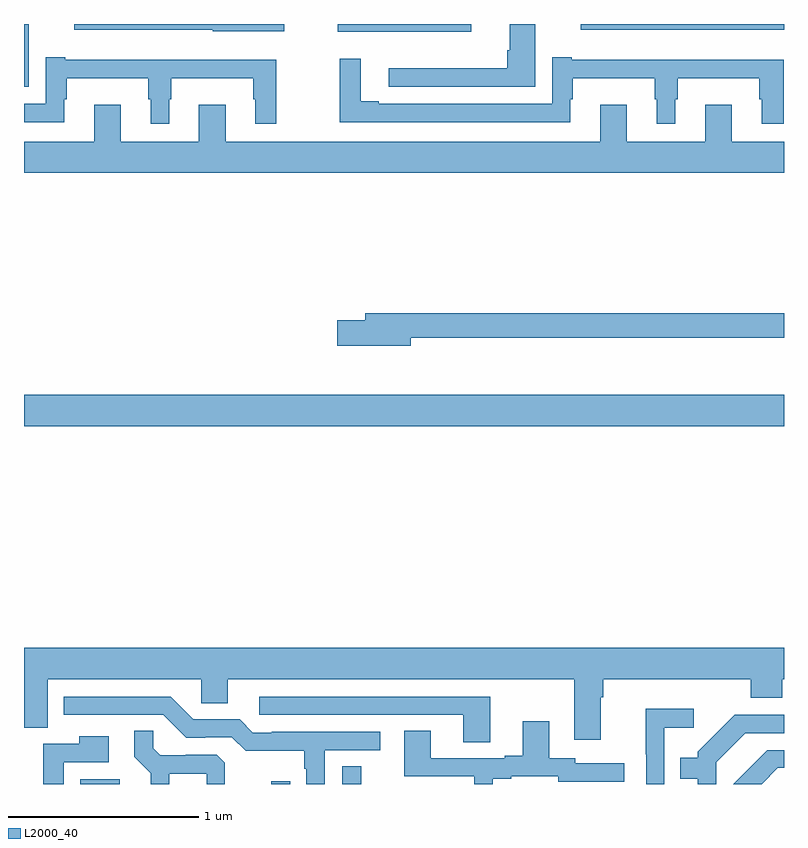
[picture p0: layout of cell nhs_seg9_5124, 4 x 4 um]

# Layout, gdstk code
import gdstk
lib = gdstk.Library(unit=1e-6, precision=1e-09)
def R(c, l, rs):  # rectangles x0, y0, x1, y1
    for r in rs: c.add(gdstk.rectangle(r[:2], r[2:], *l))
def P(c, l, *ps):  # polygons
    for p in ps: c.add(gdstk.Polygon(p, *l))
L2000_40 = (2000, 40)

nhs_seg9_5124 = lib.new_cell('nhs_seg9_5124')
R(nhs_seg9_5124, L2000_40, [(407.297,1230.5,407.503,1230.526), (408.3,1230.5,408.401,1230.514), (408.675,1230.5,408.774,1230.593), (407,1232.384,411,1232.548), (407,1234.17,407.026,1234.5), (408.65,1234.46,409.354,1234.5), (409.929,1234.469,411,1234.5)])
P(nhs_seg9_5124, L2000_40, [(409.69,1234.5),(409.556,1234.5),(409.556,1234.363),(409.544,1234.363),(409.544,1234.268),(408.921,1234.268),(408.921,1234.17),(409.69,1234.17)],
  [(408.37,1234.5),(407.265,1234.5),(407.265,1234.469),(407.994,1234.469),(407.994,1234.463),(408.37,1234.463)],
  [(410.428,1234.103),(410.44,1234.103),(410.44,1234.214),(410.871,1234.214),(410.871,1234.103),(410.882,1234.103),(410.882,1233.975),(410.999,1233.975),(410.999,1234.312),(409.882,1234.312),(409.882,1234.324),(409.779,1234.324),(409.779,1234.08),(408.868,1234.08),(408.868,1234.093),(408.772,1234.093),(408.772,1234.318),(408.663,1234.318),(408.663,1233.984),(409.876,1233.984),(409.876,1234.103),(409.888,1234.103),(409.888,1234.214),(410.319,1234.214),(410.319,1234.103),(410.33,1234.103),(410.33,1233.975),(410.428,1233.975)],
  [(407.764,1234.103),(407.776,1234.103),(407.776,1234.214),(408.207,1234.214),(408.207,1234.103),(408.218,1234.103),(408.218,1233.975),(408.328,1233.975),(408.328,1234.312),(407.218,1234.312),(407.218,1234.324),(407.115,1234.324),(407.115,1234.08),(407,1234.08),(407,1233.984),(407.212,1233.984),(407.212,1234.103),(407.224,1234.103),(407.224,1234.214),(407.655,1234.214),(407.655,1234.103),(407.666,1234.103),(407.666,1233.975),(407.764,1233.975)],
  [(411,1233.88),(410.725,1233.88),(410.725,1234.075),(410.585,1234.075),(410.585,1233.88),(410.173,1233.88),(410.173,1234.075),(410.033,1234.075),(410.033,1233.88),(408.061,1233.88),(408.061,1234.075),(407.921,1234.075),(407.921,1233.88),(407.509,1233.88),(407.509,1234.075),(407.369,1234.075),(407.369,1233.88),(407,1233.88),(407,1233.716),(411,1233.716)],
  [(409.036,1232.85),(411,1232.85),(411,1232.978),(408.797,1232.978),(408.797,1232.942),(408.648,1232.942),(408.648,1232.807),(409.036,1232.807)],
  [(410.035,1230.956),(410.048,1230.956),(410.048,1231.052),(410.825,1231.052),(410.825,1230.953),(410.99,1230.953),(410.99,1231.052),(411,1231.052),(411,1231.216),(407,1231.216),(407,1230.796),(407.125,1230.796),(407.125,1231.052),(407.934,1231.052),(407.934,1230.925),(408.073,1230.925),(408.073,1231.052),(409.895,1231.052),(409.895,1230.732),(410.035,1230.732)],
  [(409.453,1230.96),(408.237,1230.96),(408.237,1230.864),(409.313,1230.864),(409.313,1230.721),(409.453,1230.721)],
  [(408.582,1230.678),(408.874,1230.678),(408.874,1230.774),(408.304,1230.774),(408.304,1230.771),(408.204,1230.771),(408.135,1230.84),(407.892,1230.84),(407.772,1230.96),(407.21,1230.96),(407.21,1230.864),(407.733,1230.864),(407.853,1230.744),(407.954,1230.744),(407.954,1230.747),(408.093,1230.747),(408.166,1230.674),(408.474,1230.674),(408.474,1230.581),(408.486,1230.581),(408.486,1230.5),(408.582,1230.5)],
  [(410.37,1230.797),(410.524,1230.797),(410.524,1230.895),(410.272,1230.895),(410.272,1230.656),(410.274,1230.656),(410.274,1230.5),(410.37,1230.5)],
  [(410.643,1230.615),(410.796,1230.768),(411,1230.768),(411,1230.864),(410.742,1230.864),(410.547,1230.669),(410.547,1230.637),(410.455,1230.637),(410.455,1230.528),(410.546,1230.528),(410.546,1230.5),(410.643,1230.5)],
  [(409.468,1230.528),(409.564,1230.528),(409.564,1230.54),(409.812,1230.54),(409.812,1230.513),(410.158,1230.513),(410.158,1230.609),(409.902,1230.609),(409.902,1230.636),(409.765,1230.636),(409.765,1230.829),(409.625,1230.829),(409.625,1230.649),(409.529,1230.649),(409.529,1230.636),(409.141,1230.636),(409.141,1230.779),(409.001,1230.779),(409.001,1230.54),(409.371,1230.54),(409.371,1230.5),(409.468,1230.5)],
  [(407.765,1230.554),(407.962,1230.554),(407.962,1230.5),(408.056,1230.5),(408.056,1230.613),(408.015,1230.654),(407.85,1230.654),(407.85,1230.651),(407.716,1230.651),(407.679,1230.688),(407.679,1230.779),(407.581,1230.779),(407.581,1230.643),(407.667,1230.557),(407.667,1230.5),(407.765,1230.5)],
  [(407.208,1230.615),(407.446,1230.615),(407.446,1230.751),(407.29,1230.751),(407.29,1230.711),(407.1,1230.711),(407.1,1230.5),(407.208,1230.5)],
  [(410.967,1230.585),(411,1230.585),(411,1230.678),(410.912,1230.678),(410.734,1230.5),(410.882,1230.5)])

lib.write_gds('nhs_seg9_5124.gds')
